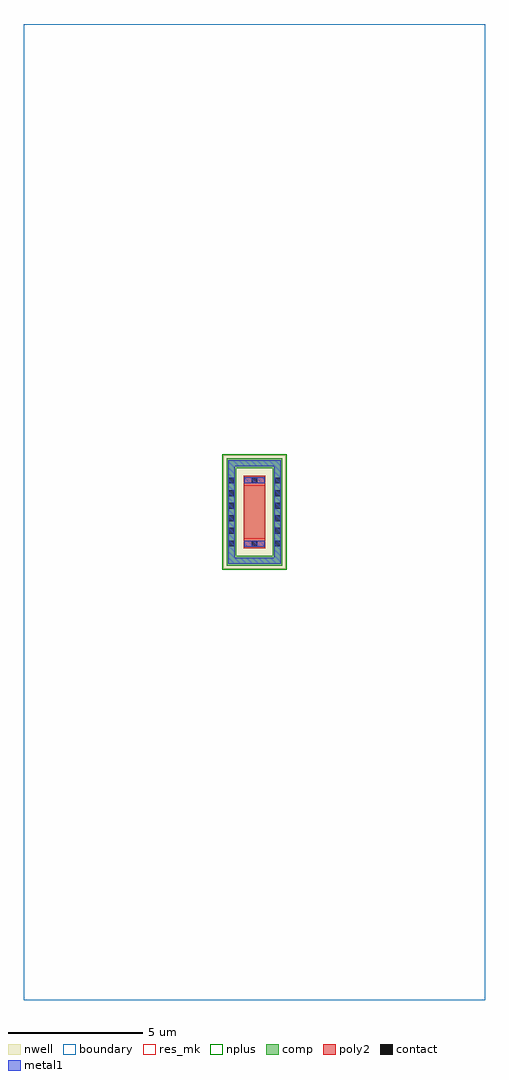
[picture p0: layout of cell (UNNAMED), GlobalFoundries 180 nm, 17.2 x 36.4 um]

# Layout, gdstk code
import gdstk
lib = gdstk.Library(unit=1e-6, precision=1e-09)
def R(c, l, rs):  # rectangles x0, y0, x1, y1
    for r in rs: c.add(gdstk.rectangle(r[:2], r[2:], *l))
def A(c, l, x, y, w, h, nx, ny, dx, dy):  # array of equal rectangles
    R(c, l, [(x+i*dx, y+j*dy, x+i*dx+w, y+j*dy+h) for i in range(nx) for j in range(ny)])
boundary = (0, 0)
nwell = (21, 0)
comp = (22, 0)
poly2 = (30, 0)
nplus = (32, 0)
contact = (33, 0)
metal1 = (34, 0)
res_mk = (110, 5)

c__unnamed_ = lib.new_cell('(UNNAMED)')
R(c__unnamed_, boundary, [(-8.6,-18.2,8.6,18.2)])
R(c__unnamed_, nwell, [(-1.16,-2.12,1.16,2.12)])
R(c__unnamed_, comp, [(-1.04,-2,1.04,-1.64), (-1.04,-1.64,-0.68,1.64), (0.68,-1.64,1.04,1.64), (-1.04,1.64,1.04,2)])
R(c__unnamed_, poly2, [(-0.4,-1.36,0.4,1.36)])
R(c__unnamed_, nplus, [(-1.2,-2.16,1.2,-1.53), (-0.58,-1.54,0.58,1.54), (-1.2,-1.53,-0.57,1.53), (0.57,-1.53,1.2,1.53), (-1.2,1.53,1.2,2.16)])
A(c__unnamed_, contact, -0.97, -1.285, 0.22, 0.22, 1, 6, 0, 0.47)
A(c__unnamed_, contact, 0.75, -1.285, 0.22, 0.22, 1, 6, 0, 0.47)
R(c__unnamed_, contact, [(-0.11,-1.29,0.11,-1.07), (-0.11,1.07,0.11,1.29)])
R(c__unnamed_, metal1, [(-0.975,-1.935,0.975,-1.705), (-0.975,-1.705,-0.745,1.705), (0.745,-1.705,0.975,1.705), (-0.39,-1.295,0.39,-1.065), (-0.39,1.065,0.39,1.295), (-0.975,1.705,0.975,1.935)])
R(c__unnamed_, res_mk, [(-0.4,-1,0.4,1)])

lib.write_gds('_UNNAMED_.gds')
